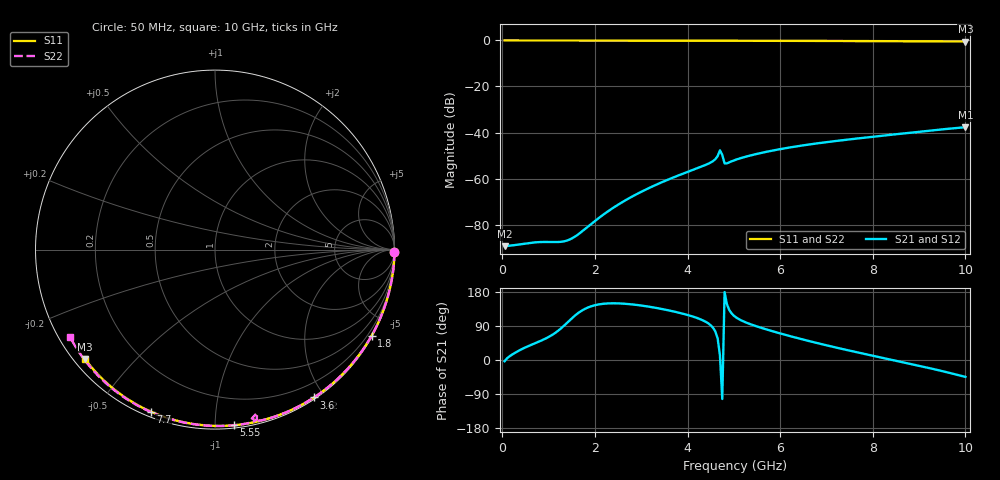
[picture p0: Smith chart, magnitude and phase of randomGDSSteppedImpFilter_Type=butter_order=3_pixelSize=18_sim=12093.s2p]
! freq	dB(S11)	phase(S11)	dB(S12)	phase(S12)
!  dB(S21)	phase(S21)	dB(S22)	phase(S22)
!S-par simulation data
#  GHz  S  DB  R 50
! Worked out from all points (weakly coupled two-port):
!   200 points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, 50 MHz to 10 GHz, reference 50 ohm
!   highest |S21| = -37.70 dB at 10 GHz (marker M1); lowest = -89.4 dB at 50 MHz (marker M2)
!   lowest |S11| = -0.5 dB at 10 GHz (marker M3), VSWR 36.53, Z = 1.55 - j18.2 ohm
!   |S11| at or under -10 dB: nowhere
!   |S22| runs from -0.5 to 0.0 dB; largest |S21 - S12| = 0
!   S11 on the Smith chart (normalised r, x): 50 MHz: open; 1.8 GHz: 0.03, -3.90; 3.6 GHz: 0.02, -1.87; 5.55 GHz: 0.02, -1.12; 7.7 GHz: 0.02, -0.68; 10 GHz: 0.03, -0.36
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0.05  -0.00 -0.8  -89.39 -3.3  -89.39 -3.3  -0.00 -0.9
0.85  -0.01 -13.7  -87.57 51.7  -87.57 51.7  -0.01 -14.5
1.75  -0.04 -28.0  -82.51 132.7  -82.51 132.7  -0.04 -29.6
1.8  -0.04 -28.8  -81.69 135.8  -81.69 135.8  -0.04 -30.4
1.9  -0.04 -30.3  -80.05 141.0  -80.05 141.0  -0.04 -32.1
2.25  -0.05 -35.8  -74.69 149.1  -74.69 149.1  -0.05 -37.8
2.6  -0.05 -41.2  -70.15 148.8  -70.15 148.8  -0.06 -43.5
3.4  -0.07 -53.2  -62.00 135.7  -62.00 135.7  -0.07 -56.2
3.6  -0.08 -56.2  -60.30 130.8  -60.30 130.8  -0.08 -59.4
4.5  -0.10 -69.2  -53.04 91.7  -53.04 91.7  -0.11 -73.5
4.6  -0.10 -70.6  -51.59 75.2  -51.59 75.2  -0.13 -75.3
4.65  -0.11 -71.3  -50.25 57.4  -50.25 57.4  -0.17 -76.4
4.7  -0.11 -72.0  -47.74 12.2  -47.74 12.2  -0.33 -77.7
4.75  -0.11 -72.7  -49.72 -102.9  -49.72 -102.9  -0.54 -75.6
4.8  -0.11 -73.4  -53.40 179.3  -53.40 179.3  -0.22 -76.2
4.85  -0.11 -74.1  -53.42 147.3  -53.42 147.3  -0.16 -77.4
5.05  -0.12 -76.9  -51.77 112.2  -51.77 112.2  -0.13 -80.8
5.55  -0.14 -83.8  -49.05 86.5  -49.05 86.5  -0.15 -88.3
6.7  -0.19 -99.0  -44.99 47.7  -44.99 47.7  -0.20 -104.5
7.7  -0.26 -111.7  -42.52 19.3  -42.52 19.3  -0.27 -118.0
8.35  -0.31 -119.8  -41.09 2.1  -41.09 2.1  -0.33 -126.7
10  -0.48 -140.0  -37.70 -44.7  -37.70 -44.7  -0.51 -148.8
